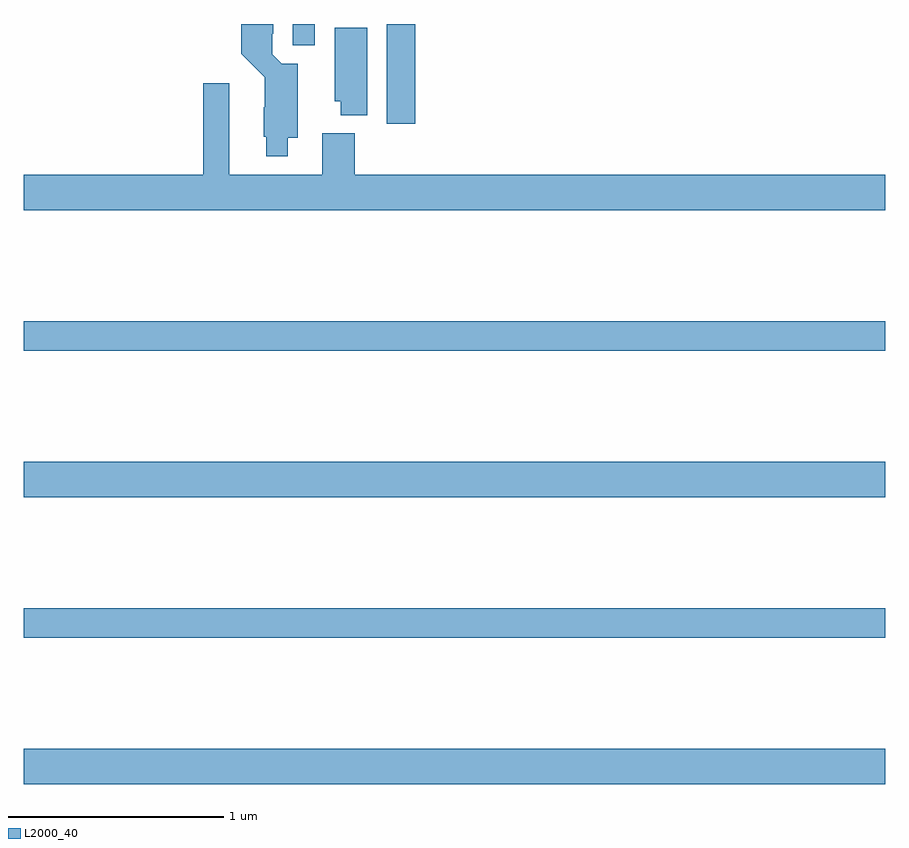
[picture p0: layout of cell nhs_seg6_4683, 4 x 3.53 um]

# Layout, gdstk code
import gdstk
lib = gdstk.Library(unit=1e-6, precision=1e-09)
def R(c, l, rs):  # rectangles x0, y0, x1, y1
    for r in rs: c.add(gdstk.rectangle(r[:2], r[2:], *l))
def P(c, l, *ps):  # polygons
    for p in ps: c.add(gdstk.Polygon(p, *l))
L2000_40 = (2000, 40)

nhs_seg6_4683 = lib.new_cell('nhs_seg6_4683')
R(nhs_seg6_4683, L2000_40, [(387,977.972,391,978.136), (387,978.652,391,978.788), (387,979.304,391,979.468), (387,979.984,391,980.12), (388.685,981.036,388.817,981.5), (388.248,981.401,388.351,981.5)])
P(nhs_seg6_4683, L2000_40, [(388.225,980.972),(388.273,980.972),(388.273,981.316),(388.199,981.316),(388.155,981.36),(388.155,981.454),(388.159,981.454),(388.159,981.5),(388.01,981.5),(388.01,981.362),(388.119,981.252),(388.119,981.113),(388.115,981.113),(388.115,980.976),(388.127,980.976),(388.127,980.885),(388.225,980.885)],
  [(388.594,981.482),(388.445,981.482),(388.445,981.141),(388.472,981.141),(388.472,981.077),(388.594,981.077)],
  [(391,980.8),(388.538,980.8),(388.538,980.992),(388.385,980.992),(388.385,980.8),(387.955,980.8),(387.955,981.226),(387.833,981.226),(387.833,980.8),(387,980.8),(387,980.636),(391,980.636)])

lib.write_gds('nhs_seg6_4683.gds')
